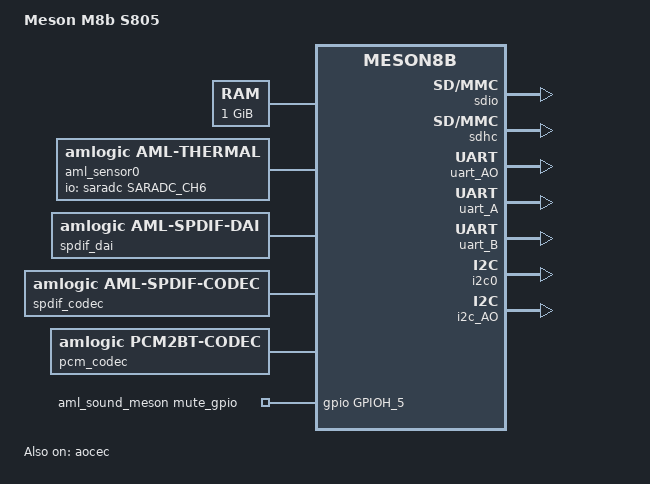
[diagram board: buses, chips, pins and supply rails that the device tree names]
/*
 * arch/arm/boot/dts/amlogic/meson8b_skt.dts
 *
 * Copyright (C) 2017 Amlogic, Inc. All rights reserved.
 *
 * This program is free software; you can redistribute it and/or modify
 * it under the terms of the GNU General Public License as published by
 * the Free Software Foundation; either version 2 of the License, or
 * (at your option) any later version.
 *
 * This program is distributed in the hope that it will be useful, but WITHOUT
 * ANY WARRANTY; without even the implied warranty of MERCHANTABILITY or
 * FITNESS FOR A PARTICULAR PURPOSE.  See the GNU General Public License for
 * more details.
 *
 */

/dts-v1/;
#include "meson8b.dtsi"

/ {
	model = "Meson M8b S805";
	compatible = "amlogic,meson8b";

	aliases {
		serial0 = &uart_AO;
		serial1 = &uart_A;
		serial2 = &uart_B;
	};

	memory {
		reg = <0x00000000 0x40000000>;
		linux,usable-memory = <0x00200000 0x3fe00000>;
	};

	reserved-memory {
		#address-cells = <1>;
		#size-cells = <1>;
		ranges;

		pm_reserved:linux,pm {
			compatible = "amlogic, pm-m8b-reserve";
			reg = <0x04f00000 0x100000>;
		};
	};

	sdio {
		compatible = "amlogic, aml_sdio";
		dev_name = "aml_sdio.0";
		status = "okay";
		interrupts = <0 28 1>;
		reg = <0xc1108c20 0x20>;
		pinctrl-names = "sd_clk_cmd_pins",
			"sd_all_pins",
			"emmc_clk_cmd_pins",
			"emmc_all_pins",
			"sdio_clk_cmd_pins",
			"sdio_all_pins",
			"sd_1bit_pins";
		pinctrl-0 = <&sd_clk_cmd_pins>;
		pinctrl-1 = <&sd_all_pins>;
		pinctrl-2 = <&emmc_clk_cmd_pins>;
		pinctrl-3 = <&emmc_all_pins>;
		pinctrl-4 = <&sdio_clk_cmd_pins>;
		pinctrl-5 = <&sdio_all_pins>;
		pinctrl-6 = <&sd_1bit_pins>;
		clocks = <&clkc CLKID_SDIO>;
		clock-names = "core";

		sd {
			status = "okay";
			port = <1>;
			/* 0:sdio_a,
			 * 1:sdio_b,
			 * 2:sdio_c,
			 * 3:sdhc_a,
			 * 4:sdhc_b,
			 * 5:sdhc_c
			 */
			pinname = "sd";
			ocr_avail = <0x200000>; /**VDD voltage 3.3 ~ 3.4 */
			caps = "MMC_CAP_4_BIT_DATA",
				 "MMC_CAP_MMC_HIGHSPEED",
				 "MMC_CAP_SD_HIGHSPEED";
			f_min = <300000>;
			f_max = <50000000>;
			f_max_w = <50000000>;
			max_req_size = <0x20000>; /*128KB*/
			gpio_dat3 = <&gpio CARD_4 GPIO_ACTIVE_HIGH>;
			jtag_pin = <&gpio CARD_0 GPIO_ACTIVE_HIGH>;
			gpio_cd = <&gpio CARD_6 GPIO_ACTIVE_HIGH>;
			gpio_ro = <&gpio GPIODV_25 GPIO_ACTIVE_HIGH>;
			card_type = <5>;
			/* 0:unknown,
			 * 1:mmc card(include eMMC),
			 * 2:sd card(include tSD),
			 * 3:sdio device(ie:sdio-wifi),
			 * 4:SD combo (IO+mem) card,
			 * 5:NON sdio device(means sd/mmc card),
			 * other:reserved
			 */
		};
	};

	sdhc {
		compatible = "amlogic, aml_sdhc";
		dev_name = "aml_sdhc.0";
		status = "okay";
		interrupts = <0 78 1>;
		reg = <0xc1108e00 0x3c>;
		pinctrl-names = "sdhc_sd_clk_cmd_pins",
			"sdhc_sd_all_pins",
			"sdhc_emmc_clk_cmd_pins",
			"sdhc_emmc_all_pins",
			"sdhc_sdio_clk_cmd_pins",
			"sdhc_sdio_all_pins";
		pinctrl-0 = <&sdhc_sd_clk_cmd_pins>;
		pinctrl-1 = <&sdhc_sd_all_pins>;
		pinctrl-2 = <&sdhc_emmc_clk_cmd_pins>;
		pinctrl-3 = <&sdhc_emmc_all_pins>;
		pinctrl-4 = <&sdhc_sdio_clk_cmd_pins>;
		pinctrl-5 = <&sdhc_sdio_all_pins>;
		clocks = <&clkc CLKID_SDHC>,
			   <&clkc CLKID_FCLK_DIV3>;
		clock-names = "core", "div3";

		emmc {
			status = "okay";
			port = <5>;
			/* 0:sdio_a,
			 * 1:sdio_b,
			 * 2:sdio_c,
			 * 3:sdhc_a,
			 * 4:sdhc_b,
			 * 5:sdhc_c
			 */
			pinname = "emmc";
			ocr_avail = <0x00200000>;
			/* 3.3:0x200000, 1.8+3.3:0x00200080 */
			caps = "MMC_CAP_8_BIT_DATA",
				 "MMC_CAP_MMC_HIGHSPEED",
				 "MMC_CAP_SD_HIGHSPEED",
				 "MMC_CAP_NONREMOVABLE",
				 "MMC_CAP_ERASE",
				 "MMC_CAP_HW_RESET";
			f_min = <300000>;
			f_max = <40000000>;
			max_req_size = <0x20000>; /* 128KB */
			gpio_dat3 = <&gpio BOOT_3 GPIO_ACTIVE_HIGH>;
			hw_reset = <&gpio BOOT_9 GPIO_ACTIVE_HIGH>;
			card_type = <1>;
			/* 0:unknown,
			 * 1:mmc card(include eMMC),
			 * 2:sd card(include tSD),
			 * 3:sdio device(ie:sdio-wifi),
			 * 4:SD combo (IO+mem) card,
			 * 5:NON sdio device(means sd/mmc card),
			 * other:reserved
			 */
		};
	};

	cpufreq-meson{
		compatible = "amlogic, cpufreq-meson";
		status = "okay";
		fixpll_target = <1536000>;
		clocks = <&clkc CLKID_CPUCLK>,
			 <&clkc CLKID_PLL_SYS>;
		clock-names = "cpu_clk", "sys_clk";
		opp_table = <
			/* frequent(Khz)    uV    */
				  96000	 860000
				 312000	 860000
				 504000	 860000
				 600000	 860000
				 720000	 860000
				 816000	 900000
				1008000	1140000
				1200000	1140000
				1320000	1140000
				1488000	1140000
				1536000	1140000
			>;
	};

	dvfs {
		compatible = "amlogic, amlogic-dvfs";
		status = "okay";
		vcck_dvfs {
			dvfs_id = <1>;
		};
	};

	pmu {
		compatible = "amlogic, aml_pmu_prober";
		#address-cells = <1>;
		#size-cells = <0>;
		status = "okay";
		aml1218 {
			compatible = "amlogic, amlogic_pmu";
			sub_type = "aml1218_pmu";
			i2c_bus = "i2c_bus_ao";
			slave_address = <0x35>;
			status = "okay";
		};
	};

	aocec: aocec{
		compatible = "amlogic, amlogic-aocec";
		device_name = "aocec";
		status = "okay";
		vendor_id = <0x000000>;
		cec_osd_string = "MBox"; /* Max Chars: 14    */
		cec_version = <6>; /* 5: 1.4, 6: 2.0 */
		port_num = <1>;
		arc_port_mask = <0x0>;
		interrupts = <0 151 1>;
		interrupt-names = "hdmi_aocec";
		pinctrl-names = "hdmi_cec_1";
		pinctrl-0=<&hdmi_cec_1>;
		reg = <0xc8100000 0x200>;
	};

	aml_sensor0: aml-sensor@0 {
		compatible = "amlogic, aml-thermal";
		device_name = "thermal";
		#thermal-sensor-cells = <1>;
		io-channels = <&saradc SARADC_CH6>;
		io-channel-names = "TEMP_CHAN";
		cooling_devices {
			cpufreq_cool_cluster0 {
				min_state = <768000>;
				dyn_coeff = <110>;
				cluster_id = <0>;
				node_name = "cpufreq_cool0";
				device_type = "cpufreq";
			};
			cpucore_cool_cluster0 {
				min_state = <1>;
				dyn_coeff = <0>;
				cluster_id = <0>;
				node_name = "cpucore_cool0";
				device_type = "cpucore";
			};
			gpufreq_cool {
				min_state = <318>;
				dyn_coeff = <437>;
				cluster_id = <0>;
				node_name = "gpufreq_cool0";
				device_type = "gpufreq";
			};
			gpucore_cool {
				min_state = <1>;
				dyn_coeff = <0>;
				cluster_id = <0>;
				node_name = "gpucore_cool0";
				device_type = "gpucore";
			};
		};
		cpufreq_cool0:cpufreq_cool0 {
			#cooling-cells = <2>; /* min followed by max */
		};
		cpucore_cool0:cpucore_cool0 {
			#cooling-cells = <2>; /* min followed by max */
		};
		gpufreq_cool0:gpufreq_cool0 {
			#cooling-cells = <2>; /* min followed by max */
		};
		gpucore_cool0:gpucore_cool0 {
			#cooling-cells = <2>; /* min followed by max */
		};
	};
	thermal-zones {
		soc_thermal {
			polling-delay = <1000>;
			polling-delay-passive = <100>;
			sustainable-power = <1350>;

			thermal-sensors = <&aml_sensor0 3>;

			trips {
				switch_on: trip-point@0 {
					temperature = <70000>;
					hysteresis = <1000>;
					type = "passive";
				};
				control: trip-point@1 {
					temperature = <80000>;
					hysteresis = <1000>;
					type = "passive";
				};
				hot: trip-point@2 {
					temperature = <85000>;
					hysteresis = <5000>;
					type = "hot";
				};
				critical: trip-point@3 {
					temperature = <260000>;
					hysteresis = <1000>;
					type = "critical";
				};
			};

			cooling-maps {
				cpufreq_cooling_map {
					trip = <&control>;
					cooling-device = <&cpufreq_cool0 0 4>;
					contribution = <1024>;
				};
				cpucore_cooling_map {
					trip = <&control>;
					cooling-device = <&cpucore_cool0 0 3>;
					contribution = <1024>;
				};
				gpufreq_cooling_map {
					trip = <&control>;
					cooling-device = <&gpufreq_cool0 0 4>;
					contribution = <1024>;
				};
				gpucore_cooling_map {
					trip = <&control>;
					cooling-device = <&gpucore_cool0 0 2>;
					contribution = <1024>;
				};
			};
		};
	};

	/* AUDIO MESON DEVICES */
	i2s_dai: I2S {
		#sound-dai-cells = <0>;
		compatible = "amlogic, aml-i2s-dai";
		clocks =
			<&clkc CLKID_MPLL2>,
			<&clkc CLKID_AMCLK_COMP>,
			<&clkc CLKID_AIU_GLUE>,
			<&clkc CLKID_IEC958>,
			<&clkc CLKID_I2S_OUT>,
			<&clkc CLKID_AMCLK>,
			<&clkc CLKID_AIFIFO2>,
			<&clkc CLKID_MIXER>,
			<&clkc CLKID_MIXER_IFACE>,
			<&clkc CLKID_ADC>,
			<&clkc CLKID_AIU>,
			<&clkc CLKID_AOCLK_GATE>,
			<&clkc CLKID_I2S_SPDIF>;
		clock-names =
			"mpll2",
			"mclk",
			"top_glue",
			"aud_buf",
			"i2s_out",
			"amclk_measure",
			"aififo2",
			"aud_mixer",
			"mixer_reg",
			"adc",
			"top_level",
			"aoclk",
			"aud_in";
		/*DMIC;*/  /* I2s Mic or Dmic, default for I2S mic */
	};
	spdif_dai: SPDIF {
		#sound-dai-cells = <0>;
		compatible = "amlogic, aml-spdif-dai";
		clocks =
			<&clkc CLKID_MPLL1>,
			<&clkc CLKID_I958_COMP>,
			<&clkc CLKID_AMCLK_COMP>,
			<&clkc CLKID_I958_COMP_SPDIF>,
			<&clkc CLKID_CLK81>,
			<&clkc CLKID_IEC958>,
			<&clkc CLKID_IEC958_GATE>;
		clock-names =
			"mpll1",
			"i958",
			"mclk",
			"spdif",
			"clk_81",
			"iec958",
			"iec958_amclk";
	};
	pcm_dai: PCM {
		#sound-dai-cells = <0>;
		compatible = "amlogic, aml-pcm-dai";
		pinctrl-names = "aml_audio_pcm";
		pinctrl-0 = <&audio_pcm_pins>;
		clocks =
			<&clkc CLKID_MPLL0>,
			<&clkc CLKID_PCM_MCLK_COMP>,
			<&clkc CLKID_PCM_SCLK_GATE>;
		clock-names =
			"mpll0",
			"pcm_mclk",
			"pcm_sclk";
		pcm_mode = <1>; /* 0=slave mode, 1=master mode */
	};
	i2s_plat: i2s_platform {
		compatible = "amlogic, aml-i2s";
		interrupts = <0 29 1>;
	};
	pcm_plat: pcm_platform {
		compatible = "amlogic, aml-pcm";
	};
	spdif_codec: spdif_codec {
		#sound-dai-cells = <0>;
		compatible = "amlogic, aml-spdif-codec";
		//pinctrl-names = "aml_audio_spdif";
		//pinctrl-0 = <&audio_spdif_pins>;
	};
	pcm_codec: pcm_codec {
		#sound-dai-cells = <0>;
		compatible = "amlogic, pcm2BT-codec";
	};
	/* endof AUDIO MESON DEVICES */

	/* AUDIO board specific */
	dummy_codec:dummy {
		#sound-dai-cells = <0>;
		compatible = "amlogic, aml_dummy_codec";
		status = "okay";
	};
	amlogic_codec:t9015 {
		#sound-dai-cells = <0>;
		compatible = "amlogic, aml_codec_T9015";
		reg = <0x0 0xc8832000 0x0 0x14>;
		status = "disabled";
	};
	audio_pmu3_codec:aml_pmu3 {
		#sound-dai-cells = <0>;
		compatible = "amlogic, aml_pmu3_codec";
		status = "disabled";
	};
	aml_sound_meson {
		compatible = "aml, meson-snd-card";
		status = "okay";
		aml-sound-card,format = "i2s";
		aml_sound_card,name = "AML-MESONAUDIO";
		aml,audio-routing =
				"Ext Spk","LOUTL",
				"Ext Spk","LOUTR";

		mute_gpio-gpios = <&gpio GPIOH_5 0>;
		mute_inv;
		hp_disable;
		hp_paraments = <800 300 0 5 1>;
		pinctrl-names = "aml_audio_i2s";
		pinctrl-0 = <&audio_i2s_pins>;
		cpu_list = <&cpudai0 &cpudai1 &cpudai2>;
		codec_list = <&codec0 &codec1 &codec2>;
		plat_list = <&i2s_plat &i2s_plat &pcm_plat>;
		cpudai0: cpudai0 {
			sound-dai = <&i2s_dai>;
		};
		cpudai1: cpudai1 {
			sound-dai = <&spdif_dai>;
		};
		cpudai2: cpudai2 {
			sound-dai = <&pcm_dai>;
		};
		codec0: codec0 {
			sound-dai = <&dummy_codec>;
		};
		codec1: codec1 {
			sound-dai = <&spdif_codec>;
		};
		codec2: codec2 {
			sound-dai = <&pcm_codec>;
		};
	};
	/* END OF AUDIO board specific */

	sysled {
		compatible = "amlogic, sysled";
		dev_name = "sysled";
		status = "disabled";
		led_gpio = <&gpio_ao GPIOAO_1 GPIO_ACTIVE_HIGH>;
		led_active_low = <1>;
	};

};

&uart_AO {
	status = "okay";
	pinctrl-0 = <&uart_ao_a_pins>;
	pinctrl-names = "default";
};
&uart_A {
	status = "okay";
	pinctrl-0 = <&uart_a_pins>;
	pinctrl-names = "default";
};
&uart_B {
	status = "okay";
	pinctrl-0 = <&uart_b0_pins>;
	pinctrl-names = "default";
};
&i2c0 {
	status = "ok";
};
&i2c_AO {
	status = "ok";
};

